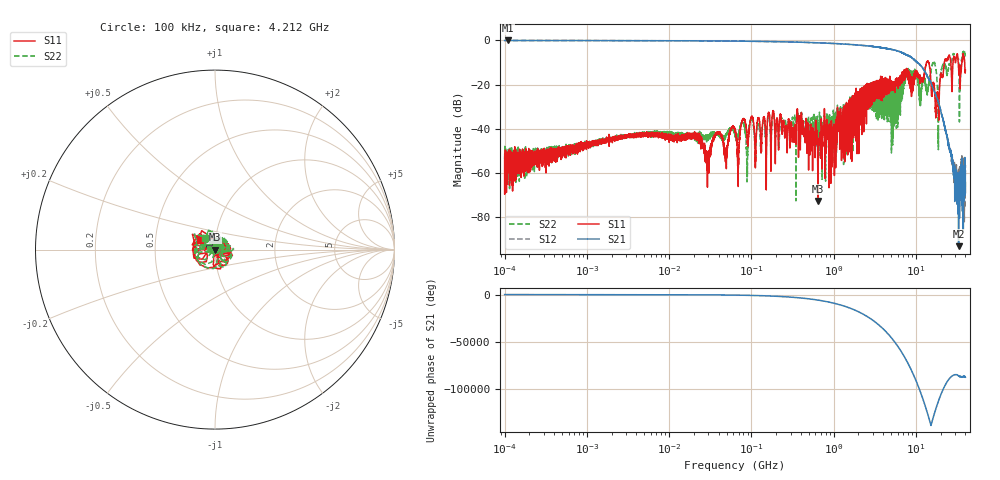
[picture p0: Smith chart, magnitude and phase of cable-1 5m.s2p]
#  HZ  S  RI  R  50.00
! Rohde & Schwarz Vector Network Analyzer
! Rohde-Schwarz,ZNB40-4Port,1311601084101740,3.32
! Created: UTC 3/2/2022, 8:05:03 AM
! freq[Hz]  re:S11  im:S11  re:S21  im:S21  re:S12  im:S12  re:S22  im:S22
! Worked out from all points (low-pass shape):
!   10001 points, 100 kHz to 40 GHz, reference 50 ohm
!   highest |S21| = 0.01 dB at 110.2 kHz (marker M1); lowest = -93.1 dB at 33.05 GHz (marker M2)
!   |S21| within 3 dB of the highest: start of sweep to 3.374 GHz; 3.381776 GHz to 3.395774 GHz (14 MHz wide, 0.413 % of centre)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
!   lowest |S11| = -72.6 dB at 643.1 MHz (marker M3), VSWR 1.00, Z = 50 + j0.0219 ohm
!   |S11| at or under -10 dB: start of sweep to 13.52 GHz; 14.29 GHz to 22.15 GHz (7.865 GHz wide, 43.2 % of centre); 32.74 GHz to 36.3 GHz (3.563 GHz wide, 10.3 % of centre)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
!   |S22| runs from -72.5 to -4.6 dB; largest |S21 - S12| = 0.0085
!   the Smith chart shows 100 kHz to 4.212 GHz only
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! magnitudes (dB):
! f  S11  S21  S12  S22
! 100 kHz  -54.7  0.0  0.0  -53.9
! 110.2 kHz  -52.7  0.0  0.0  -55.6
! 858.7 kHz  -46.4  0.0  0.0  -47.9
! 7.374 MHz  -42.2  -0.1  -0.1  -42.0
! 21.43 MHz  -44.9  -0.2  -0.1  -41.5
! 29.32 MHz  -56.3  -0.2  -0.2  -43.5
! 37.66 MHz  -42.4  -0.2  -0.2  -41.4
! 48.68 MHz  -52.9  -0.2  -0.2  -43.2
! 63.33 MHz  -40.5  -0.3  -0.3  -42.4
! 68.51 MHz  -55.5  -0.3  -0.3  -43.2
! 79.88 MHz  -35.6  -0.3  -0.3  -37.4
! 88.22 MHz  -41.8  -0.3  -0.3  -61.0
! 381.4 MHz  -34.7  -0.8  -0.8  -34.5
! 543.1 MHz  -40.2  -1.0  -1.0  -44.2
! 643.1 MHz  -72.6  -1.0  -1.0  -46.7
! 4.664 GHz  -21.4  -3.8  -3.8  -26.5
! 14.83 GHz  -13.1  -18.1  -18.1  -16.5
! 16.62 GHz  -20.1  -22.8  -22.7  -9.8
! 18.12 GHz  -24.3  -26.2  -26.2  -18.5
! 23.48 GHz  -8.6  -42.2  -42.1  -13.0
! 33.05 GHz  -13.7  -93.1  -62.3  -8.6
! 40 GHz  -13.4  -64.3  -59.4  -7.2
